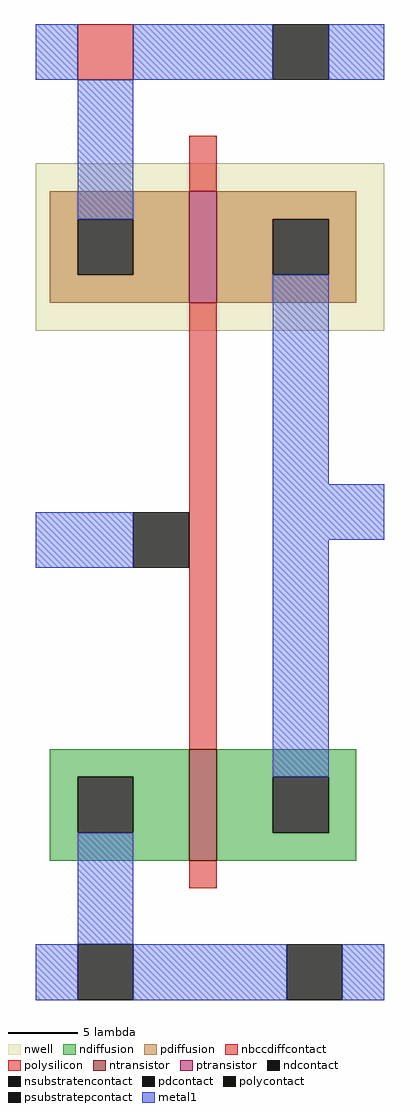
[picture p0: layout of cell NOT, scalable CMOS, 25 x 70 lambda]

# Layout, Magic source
magic
tech scmos
<< nwell >>
rect -5 25 20 37
<< polysilicon >>
rect 6 35 8 39
rect 6 -5 8 27
rect 6 -15 8 -13
<< ndiffusion >>
rect -4 -7 6 -5
rect -4 -11 -2 -7
rect 2 -11 6 -7
rect -4 -13 6 -11
rect 8 -7 18 -5
rect 8 -11 12 -7
rect 16 -11 18 -7
rect 8 -13 18 -11
<< pdiffusion >>
rect -4 33 6 35
rect -4 29 -2 33
rect 2 29 6 33
rect -4 27 6 29
rect 8 33 18 35
rect 8 29 12 33
rect 16 29 18 33
rect 8 27 18 29
<< metal1 >>
rect -5 43 -2 47
rect 2 43 12 47
rect 16 43 20 47
rect -2 33 2 43
rect 12 14 16 29
rect -5 8 2 12
rect 12 10 20 14
rect 12 -7 16 10
rect -2 -19 2 -11
rect -5 -23 -2 -19
rect 2 -23 13 -19
rect 17 -23 20 -19
<< ntransistor >>
rect 6 -13 8 -5
<< ptransistor >>
rect 6 27 8 35
<< polycontact >>
rect 2 8 6 12
<< ndcontact >>
rect -2 -11 2 -7
rect 12 -11 16 -7
<< pdcontact >>
rect -2 29 2 33
rect 12 29 16 33
<< nbccdiffcontact >>
rect -2 43 2 47
<< psubstratepcontact >>
rect -2 -23 2 -19
rect 13 -23 17 -19
<< nsubstratencontact >>
rect 12 43 16 47
<< end >>
